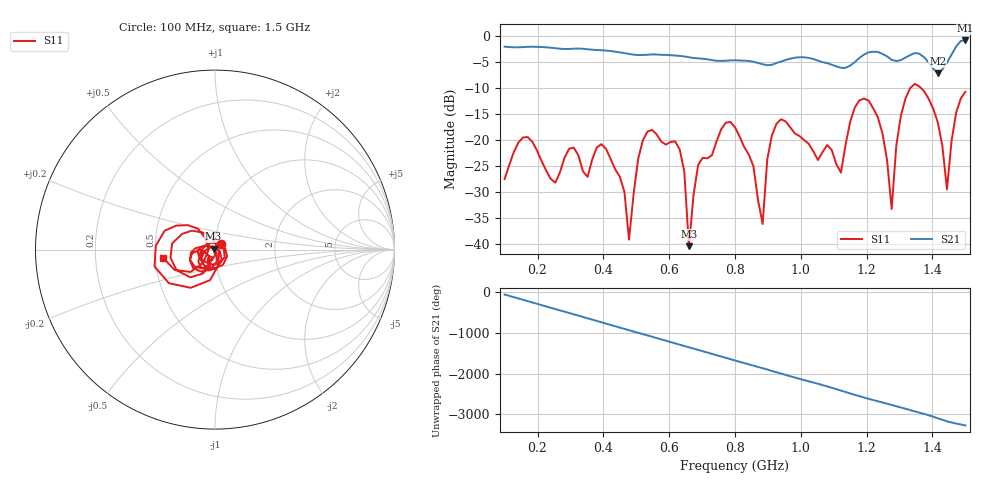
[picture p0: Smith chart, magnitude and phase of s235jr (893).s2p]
! NanoVNA-App
! Date: 2025-09-25 15:11:07
! Start: 100MHz Stop: 1,5GHz Points: 101
! S-Parameter data: F S11 S21 S12 S22
# Hz S RI R 50
!  Frequency  S11_Real  S11_Imag  S21_Real  S21_Imag  S12_Real  S12_Imag  S22_Real  S22_Imag
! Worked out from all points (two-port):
!   101 points, 100 MHz to 1.5 GHz, reference 50 ohm
!   highest |S21| = -0.77 dB at 1.5 GHz (marker M1); lowest = -7.1 dB at 1.416 GHz (marker M2)
!   |S21| within 3 dB of the highest: start of sweep to 635.9 MHz; 1.186 GHz to 1.26 GHz (74.07 MHz wide, 6.06 % of centre) (the widest 2 of 4)
!   lowest |S11| = -40.4 dB at 660 MHz (marker M3), VSWR 1.02, Z = 49.2 + j0.536 ohm
!   |S11| at or under -10 dB: start of sweep to 1.332 GHz; 1.366 GHz to end of sweep
!   S12 and S22 are empty: the file has one direction only
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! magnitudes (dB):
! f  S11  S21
! 100 MHz  -27.5  -2.0
! 156 MHz  -19.4  -2.1
! 338 MHz  -26.0  -2.4
! 408 MHz  -21.6  -2.7
! 478 MHz  -39.1  -3.4
! 520 MHz  -20.0  -3.6
! 576 MHz  -20.2  -3.5
! 632 MHz  -21.7  -3.7
! 660 MHz  -40.4  -4.0
! 688 MHz  -24.7  -4.2
! 800 MHz  -17.5  -4.6
! 884 MHz  -36.1  -5.4
! 926 MHz  -16.8  -5.1
! 1.038 GHz  -22.1  -4.3
! 1.122 GHz  -26.2  -6.0
! 1.206 GHz  -12.3  -3.0
! 1.276 GHz  -33.2  -4.5
! 1.29 GHz  -21.1  -4.7
! 1.332 GHz  -10.0  -3.6
! 1.416 GHz  -16.5  -7.1
! 1.444 GHz  -29.4  -5.1
! 1.5 GHz  -10.7  -0.8
